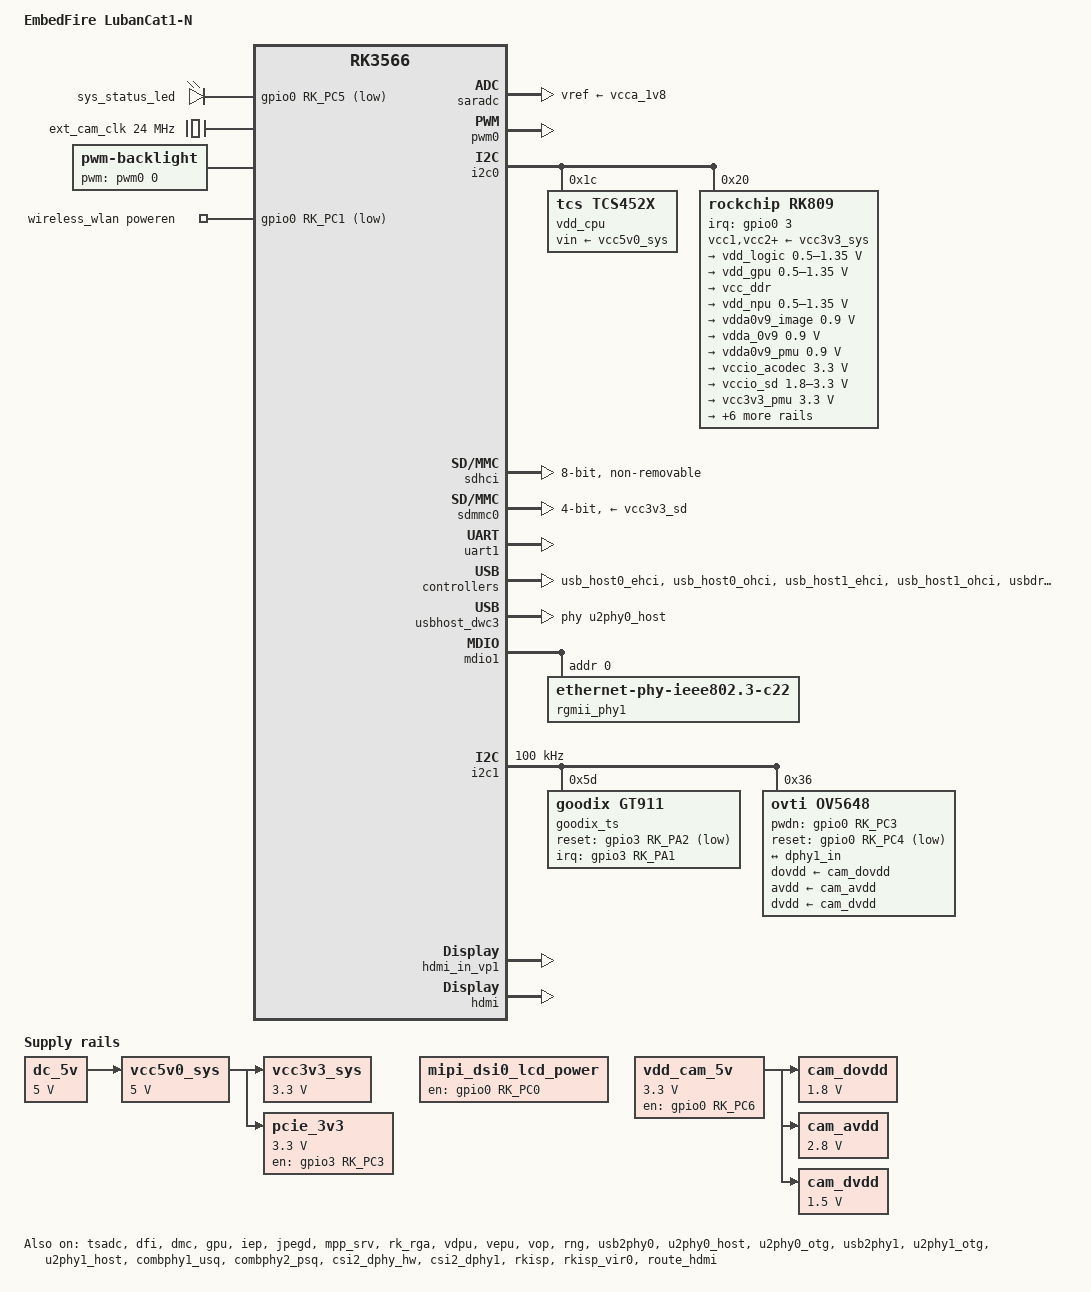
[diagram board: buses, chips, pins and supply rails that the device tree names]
// SPDX-License-Identifier: (GPL-2.0+ OR MIT)
/*
 * Copyright (c) 2020 Rockchip Electronics Co., Ltd.
 *
 */

 /dts-v1/;

#include <dt-bindings/gpio/gpio.h>
#include <dt-bindings/pwm/pwm.h>
#include <dt-bindings/pinctrl/rockchip.h>
#include <dt-bindings/input/rk-input.h>
#include <dt-bindings/display/drm_mipi_dsi.h>
#include <dt-bindings/sensor-dev.h>
#include "rk3566.dtsi"

/ {
    model = "EmbedFire LubanCat1-N";
    compatible = "embedfire,lubancat1-n", "rockchip,rk3566";

    chosen: chosen {
            bootargs = "earlycon=uart8250,mmio32,0xfe660000 console=ttyFIQ0 root=PARTUUID=614e0000-0000 rw rootwait";
    };

    fiq-debugger {
        compatible = "rockchip,fiq-debugger";
        rockchip,serial-id = <2>;
        rockchip,wake-irq = <0>;
        /* If enable uart uses irq instead of fiq */
        rockchip,irq-mode-enable = <1>;
        rockchip,baudrate = <1500000>;  /* Only 115200 and 1500000 */
        interrupts = <GIC_SPI 252 IRQ_TYPE_LEVEL_LOW>;
        pinctrl-names = "default";
        pinctrl-0 = <&uart2m0_xfer>;
        status = "okay";
    };

    debug: debug@fd904000 {
        compatible = "rockchip,debug";
        reg = <0x0 0xfd904000 0x0 0x1000>,
            <0x0 0xfd905000 0x0 0x1000>,
            <0x0 0xfd906000 0x0 0x1000>,
            <0x0 0xfd907000 0x0 0x1000>;
    };

    cspmu: cspmu@fd90c000 {
        compatible = "rockchip,cspmu";
        reg = <0x0 0xfd90c000 0x0 0x1000>,
            <0x0 0xfd90d000 0x0 0x1000>,
            <0x0 0xfd90e000 0x0 0x1000>,
            <0x0 0xfd90f000 0x0 0x1000>;
    };

    reserved-memory {
        #address-cells = <2>;
        #size-cells = <2>;
        ranges;
        ramoops: ramoops@110000 {
            compatible = "ramoops";
            reg = <0x0 0x110000 0x0 0xf0000>;
            record-size = <0x20000>;
            console-size = <0x80000>;
            ftrace-size = <0x00000>;
            pmsg-size = <0x50000>;
        };

        // abc: abc@80900000{
        //     reg = <0x0 0x80900000 0x0 0x100000>;
        // };
    };

    dc_5v: dc-5v {
        compatible = "regulator-fixed";
        regulator-name = "dc_5v";
        regulator-always-on;
        regulator-boot-on;
        regulator-min-microvolt = <5000000>;
        regulator-max-microvolt = <5000000>;
    };

    vcc5v0_sys: vcc5v0-sys {
        compatible = "regulator-fixed";
        regulator-name = "vcc5v0_sys";
        regulator-always-on;
        regulator-boot-on;
        regulator-min-microvolt = <5000000>;
        regulator-max-microvolt = <5000000>;
        vin-supply = <&dc_5v>;
    };

    vcc3v3_sys: vcc3v3-sys {
        compatible = "regulator-fixed";
        regulator-name = "vcc3v3_sys";
        regulator-always-on;
        regulator-boot-on;
        regulator-min-microvolt = <3300000>;
        regulator-max-microvolt = <3300000>;
        vin-supply = <&vcc5v0_sys>;
    };

    pcie_3v3: pcie2-3v3-regulator {
        compatible = "regulator-fixed";
        regulator-name = "pcie_3v3";
        regulator-min-microvolt = <3300000>;
        regulator-max-microvolt = <3300000>;
        enable-active-high;
        gpio = <&gpio3 RK_PC3 GPIO_ACTIVE_HIGH>;
        startup-delay-us = <5000>;
        vin-supply = <&vcc5v0_sys>;
    };

    mipi_dsi0_lcd_power: mipi-dsi0-lcd-power-regulator {
        compatible = "regulator-fixed";
        enable-active-high;
        gpio = <&gpio0 RK_PC0 GPIO_ACTIVE_HIGH>;
        pinctrl-names = "default";
        pinctrl-0 = <&mipi_dsi0_lcd_pwr_en>;
        regulator-name = "mipi_dsi0_lcd_power";
        regulator-always-on;
    };

    vdd_cam_5v: vdd-cam-5v-regulator {
        compatible = "regulator-fixed";
        regulator-name = "vdd_cam_5v";
        regulator-min-microvolt = <3300000>;
        regulator-max-microvolt = <3300000>;
        gpio = <&gpio0 RK_PC6 GPIO_ACTIVE_HIGH>;
        pinctrl-names = "default";
        pinctrl-0 = <&cam_pwr_en>;
        enable-active-high;
        regulator-always-on;
    };

    cam_dovdd: cam-dovdd {
        compatible = "regulator-fixed";
        regulator-name = "cam0_dovdd";
        regulator-always-on;
        regulator-boot-on;
        regulator-min-microvolt = <1800000>;
        regulator-max-microvolt = <1800000>;
        vin-supply = <&vdd_cam_5v>;
    };

    cam_avdd: cam-avdd {
        compatible = "regulator-fixed";
        regulator-name = "cam0_avdd";
        regulator-always-on;
        regulator-boot-on;
        regulator-min-microvolt = <2800000>;
        regulator-max-microvolt = <2800000>;
        vin-supply = <&vdd_cam_5v>;
    };

    cam_dvdd: cam-dvdd {
        compatible = "regulator-fixed";
        regulator-name = "cam0_dvdd";
        regulator-always-on;
        regulator-boot-on;
        regulator-min-microvolt = <1500000>;
        regulator-max-microvolt = <1500000>;
        vin-supply = <&vdd_cam_5v>;
    };

    leds: leds {
        status = "okay";
        compatible = "gpio-leds";

        sys_status_led: sys-status-led {
            label = "sys_status_led";
            linux,default-trigger = "heartbeat";
            default-state = "on";
            gpios = <&gpio0 RK_PC5 GPIO_ACTIVE_LOW>;
            pinctrl-names = "default";
            pinctrl-0 = <&sys_status_led_pin>;
        };
    };

    ext_cam_clk: external-camera-clock {
        compatible = "fixed-clock";
        #clock-cells = <0>;
        clock-frequency = <24000000>;
        clock-output-names = "CLK_CAMERA1_24MHZ";
    };

    backlight: backlight {
        status = "okay";
        compatible = "pwm-backlight";
        pwms = <&pwm0 0 50000 0>;
        brightness-levels = <
             95  95  95  95  95  95  95  95
             95  95  95  95  95  95  95  95
             95  95  95  95  95  95  95  95
             95  95  95  95  95  95  95  95
             95  95  95  95  95  95  95  95
             95  95  95  95  95  95  95  95
             95  95  95  95  95  95  95  95
             95  95  95  95  95  95  95  95
             95  95  95  95  95  95  95  95
             95  95  95  95  95  95  95  95
             95  95  95  95  95  95  95  95
             88  89  90  91  92  93  94  95
             96  97  98  99 100 101 102 103
            104 105 106 107 108 109 110 111
            112 113 114 115 116 117 118 119
            120 121 122 123 124 125 126 127
            128 129 130 131 132 133 134 135
            136 137 138 139 140 141 142 143
            144 145 146 147 148 149 150 151
            152 153 154 155 156 157 158 159
            160 161 162 163 164 165 166 167
            168 169 170 171 172 173 174 175
            176 177 178 179 180 181 182 183
            184 185 186 187 188 189 190 191
            192 193 194 195 196 197 198 199
            200 201 202 203 204 205 206 207
            208 209 210 211 212 213 214 215
            216 217 218 219 220 221 222 223
            224 225 226 227 228 229 230 231
            232 233 234 235 236 237 238 239
            240 241 242 243 244 245 246 247
            248 249 250 251 252 253 254 255
        >;
        default-brightness-level = <200>;
    };

    wireless_wlan: wireless-wlan {
        compatible = "wlan-platdata";
        rockchip,grf = <&grf>;
        wifi_chip_type = "rtl8821cu";
        pinctrl-names = "default";
        pinctrl-0 = <&wifi_poweren_gpio>;
        WIFI,poweren_gpio = <&gpio0 RK_PC1 GPIO_ACTIVE_LOW>;
        status = "okay";
    };
};

&saradc {
    vref-supply = <&vcca_1v8>;
    status = "okay";
};

&tsadc {
    status = "okay";
};

&pwm0 {
    status = "okay";
    pinctrl-0 = <&pwm0m1_pins>;
};

&cpu0 {
    cpu-supply = <&vdd_cpu>;
};

&dfi {
    status = "okay";
};

&dmc {
    system-status-freq = <
        /*system status         freq(KHz)*/
        SYS_STATUS_NORMAL       780000
        SYS_STATUS_REBOOT       1056000
        SYS_STATUS_SUSPEND      324000
        SYS_STATUS_VIDEO_1080P  528000
        SYS_STATUS_BOOST        1056000
        SYS_STATUS_ISP          1056000
        SYS_STATUS_PERFORMANCE  1056000
    >;
    center-supply = <&vdd_logic>;
    status = "okay";
};

&dmc_opp_table {
    opp-324000000 {
        opp-hz = /bits/ 64 <324000000>;
        opp-microvolt = <875000>;
        opp-microvolt-L0 = <875000>;
        opp-microvolt-L1 = <850000>;
    };

    opp-528000000 {
        opp-hz = /bits/ 64 <528000000>;
        opp-microvolt = <875000>;
        opp-microvolt-L0 = <875000>;
        opp-microvolt-L1 = <850000>;
    };

    opp-528000000 {
        opp-hz = /bits/ 64 <780000000>;
        opp-microvolt = <875000>;
        opp-microvolt-L0 = <875000>;
        opp-microvolt-L1 = <850000>;
    };

    opp-1056000000 {
        opp-hz = /bits/ 64 <1056000000>;
        opp-microvolt = <900000>;
        opp-microvolt-L0 = <900000>;
        opp-microvolt-L1 = <850000>;
    };
};

&gpu {
    mali-supply = <&vdd_gpu>;
    status = "okay";
};

&i2c0 {
    status = "okay";

    vdd_cpu: tcs4525@1c {
        compatible = "tcs,tcs452x";
        reg = <0x1c>;
        vin-supply = <&vcc5v0_sys>;
        regulator-compatible = "fan53555-reg";
        regulator-name = "vdd_cpu";
        regulator-min-microvolt = <712500>;
        regulator-max-microvolt = <1390000>;
        regulator-ramp-delay = <2300>;
        fcs,suspend-voltage-selector = <1>;
        regulator-boot-on;
        regulator-always-on;
        regulator-state-mem {
            regulator-off-in-suspend;
        };
    };
/*
    vdd_cpu: syr827@40 {
        compatible = "silergy,syr827";
        reg = <0x40>;
        fcs,suspend-voltage-selector = <1>;
        regulator-name = "vdd_cpu";
        regulator-min-microvolt = <712500>;
        regulator-max-microvolt = <1390000>;
        regulator-ramp-delay = <2300>;
        regulator-always-on;
        regulator-boot-on;
        vin-supply = <&vcc5v0_sys>;

        regulator-state-mem {
            regulator-off-in-suspend;
        };
    };
*/
    rk809: pmic@20 {
        compatible = "rockchip,rk809";
        reg = <0x20>;
        interrupt-parent = <&gpio0>;
        interrupts = <3 IRQ_TYPE_LEVEL_LOW>;

        pinctrl-names = "default", "pmic-sleep",
                        "pmic-power-off", "pmic-reset";
        pinctrl-0 = <&pmic_int>;
        pinctrl-1 = <&soc_slppin_slp>, <&rk817_slppin_slp>;
        pinctrl-2 = <&soc_slppin_gpio>, <&rk817_slppin_pwrdn>;
        pinctrl-3 = <&soc_slppin_gpio>, <&rk817_slppin_rst>;

        rockchip,system-power-controller;
        wakeup-source;
        #clock-cells = <1>;
        clock-output-names = "rk808-clkout1", "rk808-clkout2";
        //fb-inner-reg-idxs = <2>;
        /* 1: rst regs (default in codes), 0: rst the pmic */
        pmic-reset-func = <0>;
        /* not save the PMIC_POWER_EN register in uboot */
        not-save-power-en = <1>;

        vcc1-supply = <&vcc3v3_sys>;
        vcc2-supply = <&vcc3v3_sys>;
        vcc3-supply = <&vcc3v3_sys>;
        vcc4-supply = <&vcc3v3_sys>;
        vcc5-supply = <&vcc3v3_sys>;
        vcc6-supply = <&vcc3v3_sys>;
        vcc7-supply = <&vcc3v3_sys>;
        vcc8-supply = <&vcc3v3_sys>;
        vcc9-supply = <&vcc3v3_sys>;

        pwrkey {
            status = "okay";
        };

        pinctrl_rk8xx: pinctrl_rk8xx {
            gpio-controller;
            #gpio-cells = <2>;

            rk817_slppin_null: rk817_slppin_null {
                pins = "gpio_slp";
                function = "pin_fun0";
            };

            rk817_slppin_slp: rk817_slppin_slp {
                pins = "gpio_slp";
                function = "pin_fun1";
            };

            rk817_slppin_pwrdn: rk817_slppin_pwrdn {
                pins = "gpio_slp";
                function = "pin_fun2";
            };

            rk817_slppin_rst: rk817_slppin_rst {
                pins = "gpio_slp";
                function = "pin_fun3";
            };
        };

        regulators {
            vdd_logic: DCDC_REG1 {
                regulator-always-on;
                regulator-boot-on;
                regulator-min-microvolt = <500000>;
                regulator-max-microvolt = <1350000>;
                regulator-init-microvolt = <900000>;
                regulator-ramp-delay = <6001>;
                regulator-initial-mode = <0x2>;
                regulator-name = "vdd_logic";
                regulator-state-mem {
                    regulator-off-in-suspend;
                };
            };

            vdd_gpu: DCDC_REG2 {
                regulator-always-on;
                regulator-boot-on;
                regulator-min-microvolt = <500000>;
                regulator-max-microvolt = <1350000>;
                regulator-init-microvolt = <900000>;
                regulator-ramp-delay = <6001>;
                regulator-initial-mode = <0x2>;
                regulator-name = "vdd_gpu";
                regulator-state-mem {
                    regulator-off-in-suspend;
                };
            };

            vcc_ddr: DCDC_REG3 {
                regulator-always-on;
                regulator-boot-on;
                regulator-initial-mode = <0x2>;
                regulator-name = "vcc_ddr";
                regulator-state-mem {
                    regulator-on-in-suspend;
                };
            };

            vdd_npu: DCDC_REG4 {
                regulator-always-on;
                regulator-boot-on;
                regulator-min-microvolt = <500000>;
                regulator-max-microvolt = <1350000>;
                regulator-init-microvolt = <900000>;
                regulator-ramp-delay = <6001>;
                regulator-initial-mode = <0x2>;
                regulator-name = "vdd_npu";
                regulator-state-mem {
                    regulator-off-in-suspend;
                };
            };

            vdda0v9_image: LDO_REG1 {
                regulator-boot-on;
                regulator-always-on;
                regulator-min-microvolt = <900000>;
                regulator-max-microvolt = <900000>;
                regulator-name = "vdda0v9_image";
                regulator-state-mem {
                    regulator-off-in-suspend;
                };
            };

            vdda_0v9: LDO_REG2 {
                regulator-always-on;
                regulator-boot-on;
                regulator-min-microvolt = <900000>;
                regulator-max-microvolt = <900000>;
                regulator-name = "vdda_0v9";
                regulator-state-mem {
                    regulator-off-in-suspend;
                };
            };

            vdda0v9_pmu: LDO_REG3 {
                regulator-always-on;
                regulator-boot-on;
                regulator-min-microvolt = <900000>;
                regulator-max-microvolt = <900000>;
                regulator-name = "vdda0v9_pmu";
                regulator-state-mem {
                    regulator-on-in-suspend;
                    regulator-suspend-microvolt = <900000>;
                };
            };

            vccio_acodec: LDO_REG4 {
                regulator-always-on;
                regulator-boot-on;
                regulator-min-microvolt = <3300000>;
                regulator-max-microvolt = <3300000>;
                regulator-name = "vccio_acodec";
                regulator-state-mem {
                    regulator-off-in-suspend;
                };
            };

            vccio_sd: LDO_REG5 {
                regulator-always-on;
                regulator-boot-on;
                regulator-min-microvolt = <1800000>;
                regulator-max-microvolt = <3300000>;
                regulator-name = "vccio_sd";
                regulator-state-mem {
                    regulator-off-in-suspend;
                };
            };

            vcc3v3_pmu: LDO_REG6 {
                regulator-always-on;
                regulator-boot-on;
                regulator-min-microvolt = <3300000>;
                regulator-max-microvolt = <3300000>;
                regulator-name = "vcc3v3_pmu";
                regulator-state-mem {
                    regulator-on-in-suspend;
                    regulator-suspend-microvolt = <3300000>;
                };
            };

            vcca_1v8: LDO_REG7 {
                regulator-always-on;
                regulator-boot-on;
                regulator-min-microvolt = <1800000>;
                regulator-max-microvolt = <1800000>;
                regulator-name = "vcca_1v8";
                regulator-state-mem {
                    regulator-off-in-suspend;
                };
            };

            vcca1v8_pmu: LDO_REG8 {
                regulator-always-on;
                regulator-boot-on;
                regulator-min-microvolt = <1800000>;
                regulator-max-microvolt = <1800000>;
                regulator-name = "vcca1v8_pmu";
                regulator-state-mem {
                    regulator-on-in-suspend;
                    regulator-suspend-microvolt = <1800000>;
                };
            };

            vcca1v8_image: LDO_REG9 {
                regulator-always-on;
                regulator-boot-on;
                regulator-min-microvolt = <1800000>;
                regulator-max-microvolt = <1800000>;
                regulator-name = "vcca1v8_image";
                regulator-state-mem {
                    regulator-off-in-suspend;
                };
            };

            vcc_1v8: DCDC_REG5 {
                regulator-always-on;
                regulator-boot-on;
                regulator-min-microvolt = <1800000>;
                regulator-max-microvolt = <1800000>;
                regulator-name = "vcc_1v8";
                regulator-state-mem {
                    regulator-off-in-suspend;
                };
            };

            vcc_3v3: SWITCH_REG1 {
                regulator-always-on;
                regulator-boot-on;
                regulator-name = "vcc_3v3";
                regulator-state-mem {
                    regulator-off-in-suspend;
                };
            };

            vcc3v3_sd: SWITCH_REG2 {
                regulator-always-on;
                regulator-boot-on;
                regulator-name = "vcc3v3_sd";
                regulator-state-mem {
                    regulator-off-in-suspend;
                };
            };
        };
    };
};

&iep {
    status = "okay";
};

&iep_mmu {
    status = "okay";
};

&jpegd {
    status = "okay";
};

&jpegd_mmu {
    status = "okay";
};

&mpp_srv {
    status = "okay";
};

&pmu_io_domains {
    status = "okay";
    pmuio1-supply = <&vcc3v3_pmu>;
    pmuio2-supply = <&vcc3v3_pmu>;
    vccio1-supply = <&vccio_acodec>;
    vccio3-supply = <&vccio_sd>;
    vccio4-supply = <&vcc_3v3>;
    vccio5-supply = <&vcc_3v3>;
    vccio6-supply = <&vcc_3v3>;
    vccio7-supply = <&vcc_3v3>;
};

&rk_rga {
    status = "okay";
};

&rkvdec {
    status = "disabled";
};

&rkvdec_mmu {
    status = "disabled";
};

&rkvenc {
    venc-supply = <&vdd_logic>;
    status = "disabled";
};

&rkvenc_mmu {
    status = "disabled";
};

&rknpu {
    rknpu-supply = <&vdd_npu>;
    status = "disabled";
};

&rknpu_mmu {
    status = "disabled";
};

&bus_npu {
    bus-supply = <&vdd_logic>;
    pvtm-supply = <&vdd_cpu>;
    status = "disabled";
};

&sdhci {
    bus-width = <8>;
    supports-emmc;
    non-removable;
    max-frequency = <200000000>;
    status = "okay";
};

&sdmmc0 {
    max-frequency = <150000000>;
    supports-sd;
    bus-width = <4>;
    cap-mmc-highspeed;
    cap-sd-highspeed;
    disable-wp;
    sd-uhs-sdr104;
    vmmc-supply = <&vcc3v3_sd>;
    vqmmc-supply = <&vccio_sd>;
    pinctrl-names = "default";
    pinctrl-0 = <&sdmmc0_bus4 &sdmmc0_clk &sdmmc0_cmd &sdmmc0_det>;
    status = "okay";
};

&uart1 {
    status = "okay";
    pinctrl-names = "default";
    pinctrl-0 = <&uart1m0_xfer &uart1m0_ctsn>;
};

&vdpu {
    status = "okay";
};

&vdpu_mmu {
    status = "okay";
};

&vepu {
    status = "okay";
};

&vepu_mmu {
    status = "okay";
};

&vop {
    status = "okay";
    assigned-clocks = <&cru DCLK_VOP0>, <&cru DCLK_VOP1>;
    assigned-clock-parents = <&pmucru PLL_HPLL>, <&cru PLL_VPLL>;
};

&vop_mmu {
    status = "okay";
};

&rng {
    status = "okay";
};

&rockchip_suspend {
    status = "okay";
};

&vop {
    disable-win-move;
};

/* USB OTG/USB Host_1 USB 2.0 Comb */
&usb2phy0 {
	status = "okay";
};

&u2phy0_host {
    status = "okay";
};

&u2phy0_otg {
    status = "okay";
};

&usb_host0_ehci {
    status = "okay";
};

&usb_host0_ohci {
    status = "okay";
};

/* USB Host_2/USB Host_3 USB 2.0 Comb */
&usb2phy1 {
	status = "okay";
};

&u2phy1_otg {
    status = "okay";
};

&u2phy1_host {
    status = "okay";
};

&usb_host1_ehci {
    status = "okay";
};

&usb_host1_ohci {
    status = "okay";
};

/* USB3.0 OTG Only USB2.0 */
&usbdrd30 {
    status = "okay";
};

&usbdrd_dwc3 {
    status = "okay";
};

/* USB3.0 Host to USB2.0 only */
&combphy1_usq {
    rockchip,dis-u3otg1-port; /* 配置 dwc3_1 控制器最高支持 high speed */
    status = "okay";
};

&usbhost30 {
    status = "okay";
};

&usbhost_dwc3 {
    phys = <&u2phy0_host>; /* 配置 phys 属性只引用 usb 2.0 phy 节点 */
    phy-names = "usb2-phy";
    maximum-speed = "high-speed"; /* 配置 dwc3 控制器最高支持 high speed */
    status = "okay";
};

&gmac1 {
    phy-mode = "rgmii";
    clock_in_out = "input";

    snps,reset-gpio = <&gpio4 RK_PC0 GPIO_ACTIVE_LOW>;
    snps,reset-active-low;
    /* Reset time is 100ms, 100ms */
    snps,reset-delays-us = <0 100000 100000>;

    assigned-clocks = <&cru SCLK_GMAC1_RX_TX>, <&cru SCLK_GMAC1>;
    assigned-clock-parents = <&cru SCLK_GMAC1_RGMII_SPEED>, <&gmac1_clkin>;
    assigned-clock-rates = <0>, <125000000>;

    pinctrl-names = "default";
    pinctrl-0 = <&gmac1m1_miim
                    &gmac1m1_tx_bus2
                    &gmac1m1_rx_bus2
                    &gmac1m1_rgmii_clk
                    &gmac1m1_rgmii_bus
                    &gmac1m1_clkinout>;

    tx_delay = <0x16>;
    rx_delay = <0x0a>;

    phy-handle = <&rgmii_phy1>;
    status = "disabled";
};

&mdio1 {
    rgmii_phy1: phy@0 {
        compatible = "ethernet-phy-ieee802.3-c22";
        reg = <0x0>;
    };
};

&combphy2_psq {
        status = "okay";
};

&i2c1 {
    status = "okay";
    clock-frequency = <100000>;
    goodix_ts@5d {
        status = "okay";
        compatible = "goodix,gt911";
        reg = <0x5d>;
        interrupt-parent = <&gpio3>;
        interrupts = <RK_PA1 IRQ_TYPE_LEVEL_LOW>;
        reset-gpios = <&gpio3 RK_PA2 GPIO_ACTIVE_LOW>;
        irq-gpios = <&gpio3 RK_PA1 GPIO_ACTIVE_HIGH>;
    };

    ov5648: camera@36 {
        compatible = "ovti,ov5648";
        reg = <0x36>;
        clocks = <&ext_cam_clk>;
        clock-names = "xvclk";
        dovdd-supply= <&cam_dovdd>; /* 1.8v */
        avdd-supply = <&cam_avdd>;  /* 2.8v */
        dvdd-supply = <&cam_dvdd>;  /* 1.5v */
        pwdn-gpios = <&gpio0 RK_PC3 GPIO_ACTIVE_HIGH>;
        reset-gpios = <&gpio0 RK_PC4 GPIO_ACTIVE_LOW>;
        rotation = <180>;
        status = "okay";

        rockchip,camera-module-index = <0>;
        rockchip,camera-module-facing = "back";
        rockchip,camera-module-name = "THDS11073";
        rockchip,camera-module-lens-name = "Largan-40122a1";

        port {
                /* MIPI CSI-2 bus endpoint */
            cam0_ov5648_out: endpoint {
                remote-endpoint = <&dphy1_in>;
                clock-lanes = <0>;
                data-lanes = <1 2>;
            };
        };
    };
};

&csi2_dphy_hw {
    status = "okay";
};

&csi2_dphy1 {
    status = "okay";
    /*
    * dphy1 only used for split mode,
    * can be used concurrently with dphy2
    * full mode and split mode are mutually exclusive
    */
    ports {
        #address-cells = <1>;
        #size-cells = <0>;

        port@0 {
            reg = <0>;
            #address-cells = <1>;
            #size-cells = <0>;

            dphy1_in: endpoint@1 {
                reg = <1>;
                remote-endpoint = <&cam0_ov5648_out>;
                data-lanes = <1 2>;
            };
        };

        port@1 {
            reg = <1>;
            #address-cells = <1>;
            #size-cells = <0>;

            dphy1_out: endpoint@1 {
                reg = <1>;
                remote-endpoint = <&isp0_in>;
            };
        };
    };
};

&rkisp {
    status = "okay";
};

&rkisp_mmu {
    status = "okay";
};

&rkisp_vir0 {
    status = "okay";
    ports {
        #address-cells = <1>;
        #size-cells = <0>;

        port@0 {
            reg = <0>;
            #address-cells = <1>;
            #size-cells = <0>;

            isp0_in: endpoint@0 {
                reg = <0>;
                remote-endpoint = <&dphy1_out>;
            };
        };
    };
};

&route_hdmi {
    status = "okay";
    connect = <&vp0_out_hdmi>;
};

&hdmi_in_vp1 {
    status = "okay";
};

&hdmi_in_vp0 {
    status = "disabled";
};

&hdmi {
    status = "okay";
};


// &route_dsi0 {
// 	status = "okay";
// 	connect = <&vp0_out_dsi0>;
// };

// &video_phy0 {
// 	status = "okay";
// };

// &dsi0_in_vp0 {
//     status = "okay";
// };

// &dsi0_in_vp1 {
//     status = "disabled";
// };

// &dsi0 {
//     status = "okay";
//     dsi0_panel: panel@0 {
//         status = "okay";
//         compatible = "simple-panel-dsi";
//         reg = <0>;
//         backlight = <&backlight>;
//         reset-gpios = <&gpio3 RK_PA4 GPIO_ACTIVE_LOW>;

//         enable-delay-ms = <35>;
//         prepare-delay-ms = <6>;
//         reset-delay-ms = <0>;
//         init-delay-ms = <20>;
//         unprepare-delay-ms = <0>;
//         disable-delay-ms = <20>;

//         size,width = <68>;
//         size,height = <121>;

//         dsi,flags = <(MIPI_DSI_MODE_VIDEO | MIPI_DSI_MODE_VIDEO_BURST | MIPI_DSI_MODE_LPM | MIPI_DSI_MODE_EOT_PACKET)>;
//         dsi,format = <MIPI_DSI_FMT_RGB888>;
//         dsi,lanes  = <4>;

//         panel-init-sequence = [
//             15 00 04 FF 98 81 03
//             15 00 02 01 00
//             15 00 02 02 00
//             15 00 02 03 72
//             15 00 02 04 00
//             15 00 02 05 00
//             15 00 02 06 09
//             15 00 02 07 00
//             15 00 02 08 00
//             15 00 02 09 01
//             15 00 02 0A 00
//             15 00 02 0B 00
//             15 00 02 0C 01
//             15 00 02 0D 00
//             15 00 02 0E 00
//             15 00 02 0F 00
//             15 00 02 10 00
//             15 00 02 11 00
//             15 00 02 12 00
//             15 00 02 13 00
//             15 00 02 14 00
//             15 00 02 15 00
//             15 00 02 16 00
//             15 00 02 17 00
//             15 00 02 18 00
//             15 00 02 19 00
//             15 00 02 1A 00
//             15 00 02 1B 00
//             15 00 02 1C 00
//             15 00 02 1D 00
//             15 00 02 1E 40
//             15 00 02 1F 80
//             15 00 02 20 05
//             15 00 02 21 02
//             15 00 02 22 00
//             15 00 02 23 00
//             15 00 02 24 00
//             15 00 02 25 00
//             15 00 02 26 00
//             15 00 02 27 00
//             15 00 02 28 33
//             15 00 02 29 02
//             15 00 02 2A 00
//             15 00 02 2B 00
//             15 00 02 2C 00
//             15 00 02 2D 00
//             15 00 02 2E 00
//             15 00 02 2F 00
//             15 00 02 30 00
//             15 00 02 31 00
//             15 00 02 32 00
//             15 00 02 33 00
//             15 00 02 34 00
//             15 00 02 35 00
//             15 00 02 36 00
//             15 00 02 37 00
//             15 00 02 38 3C
//             15 00 02 39 00
//             15 00 02 3A 40
//             15 00 02 3B 40
//             15 00 02 3C 00
//             15 00 02 3D 00
//             15 00 02 3E 00
//             15 00 02 3F 00
//             15 00 02 40 00
//             15 00 02 41 00
//             15 00 02 42 00
//             15 00 02 43 00
//             15 00 02 44 00
//             15 00 02 50 00
//             15 00 02 51 23
//             15 00 02 52 45
//             15 00 02 53 67
//             15 00 02 54 89
//             15 00 02 55 AB
//             15 00 02 56 01
//             15 00 02 57 23
//             15 00 02 58 45
//             15 00 02 59 67
//             15 00 02 5A 89
//             15 00 02 5B AB
//             15 00 02 5C CD
//             15 00 02 5D EF
//             15 00 02 5E 11
//             15 00 02 5F 01
//             15 00 02 60 00
//             15 00 02 61 15
//             15 00 02 62 14
//             15 00 02 63 0E
//             15 00 02 64 0F
//             15 00 02 65 0C
//             15 00 02 66 0D
//             15 00 02 67 06
//             15 00 02 68 02
//             15 00 02 69 02
//             15 00 02 6A 02
//             15 00 02 6B 02
//             15 00 02 6C 02
//             15 00 02 6D 02
//             15 00 02 6E 07
//             15 00 02 6F 02
//             15 00 02 70 02
//             15 00 02 71 02
//             15 00 02 72 02
//             15 00 02 73 02
//             15 00 02 74 02
//             15 00 02 75 01
//             15 00 02 76 00
//             15 00 02 77 14
//             15 00 02 78 15
//             15 00 02 79 0E
//             15 00 02 7A 0F
//             15 00 02 7B 0C
//             15 00 02 7C 0D
//             15 00 02 7D 06
//             15 00 02 7E 02
//             15 00 02 7F 07
//             15 00 02 80 02
//             15 00 02 81 02
//             15 00 02 82 02
//             15 00 02 83 02
//             15 00 02 84 07
//             15 00 02 85 02
//             15 00 02 86 02
//             15 00 02 87 02
//             15 00 02 88 02
//             15 00 02 89 02
//             15 00 02 8A 02

//             15 00 04 FF 98 81 04
//             15 00 02 6C 15
//             15 00 02 6E 2A
//             15 00 02 6F 33
//             15 00 02 3A 94
//             15 00 02 8D 1A
//             15 00 02 87 BA
//             15 00 02 26 76
//             15 00 02 B2 D1
//             15 00 02 B5 06

//             15 00 04 FF 98 81 01
//             15 00 02 22 0A
//             15 00 02 31 00
//             15 00 02 53 8A
//             15 00 02 55 8A
//             15 00 02 50 AE
//             15 00 02 51 AE
//             15 00 02 60 28
//             15 00 02 61 00
//             15 00 02 62 19
//             15 00 02 63 10
//             15 00 02 A0 0F
//             15 00 02 A1 1B
//             15 00 02 A2 28
//             15 00 02 A3 12
//             15 00 02 A4 15
//             15 00 02 A5 28
//             15 00 02 A6 1B
//             15 00 02 A7 1E
//             15 00 02 A8 79
//             15 00 02 A9 1B
//             15 00 02 AA 27
//             15 00 02 AB 69
//             15 00 02 AC 19
//             15 00 02 AD 18
//             15 00 02 AE 4C
//             15 00 02 AF 21
//             15 00 02 B0 28
//             15 00 02 B1 52
//             15 00 02 B2 65
//             15 00 02 B3 3F
//             15 00 02 C0 04
//             15 00 02 C1 1B
//             15 00 02 C0 27
//             15 00 02 C3 13
//             15 00 02 C4 15
//             15 00 02 C5 28
//             15 00 02 C6 1C
//             15 00 02 C7 1E
//             15 00 02 C8 79
//             15 00 02 C9 1A
//             15 00 02 CA 27
//             15 00 02 CB 69
//             15 00 02 CC 1A
//             15 00 02 CD 18
//             15 00 02 CE 4C
//             15 00 02 CF 21
//             15 00 02 D0 27
//             15 00 02 D1 52
//             15 00 02 D2 65
//             15 00 02 D3 3F

//             15 00 04 FF 98 81 00
//             15 00 02 35 00
//             15 00 02 3A 70
//             15 78 01 11
//             15 19 01 29
//         ];

//         panel-exit-sequence = [
//             05 78 01 11
//             05 00 01 29
//         ];

//         disp_timings0: display-timings {
//             native-mode = <&dsi0_timing0>;
//             dsi0_timing0: timing0 {
//                 clock-frequency = <59603040>;
//                 hactive = <720>;
//                 vactive = <1280>;
//                 hsync-len = <6>;
//                 hback-porch = <20>;
//                 hfront-porch = <10>;
//                 vsync-len = <4>;
//                 vback-porch = <20>;
//                 vfront-porch = <10>;
//                 hsync-active = <0>;
//                 vsync-active = <0>;
//                 de-active = <0>;
//                 pixelclk-active = <0>;
//             };
//         };

//         ports {
//             #address-cells = <1>;
//             #size-cells = <0>;
//             port@0 {
//                 reg = <0>;
//                 panel_in_dsi: endpoint {
//                     remote-endpoint = <&dsi_out_panel>;
//                 };
//             };
//         };
//     };

//     ports {
//         #address-cells = <1>;
//         #size-cells = <0>;

//         port@1 {
//             reg = <1>;
//             dsi_out_panel: endpoint {
//                 remote-endpoint = <&panel_in_dsi>;
//             };
//         };
//     };
// };

&pinctrl {
    pmic {
        pmic_int: pmic_int {
            rockchip,pins = <0 RK_PA3 RK_FUNC_GPIO &pcfg_pull_up>;
        };

        soc_slppin_gpio: soc_slppin_gpio {
            rockchip,pins = <0 RK_PA2 RK_FUNC_GPIO &pcfg_output_low_pull_down>;
        };

        soc_slppin_slp: soc_slppin_slp {
            rockchip,pins = <0 RK_PA2 RK_FUNC_1 &pcfg_pull_up>;
        };

        soc_slppin_rst: soc_slppin_rst {
            rockchip,pins = <0 RK_PA2 RK_FUNC_2 &pcfg_pull_none>;
        };

        spk_ctl_gpio: spk_ctl_gpio {
            rockchip,pins = <3 RK_PC5 RK_FUNC_GPIO &pcfg_pull_up>;
        };
    };

    wireless-wlan {
        wifi_poweren_gpio: wifi-poweren-gpio {
            rockchip,pins = <0 RK_PC1 RK_FUNC_GPIO &pcfg_output_low>;
        };
    };

    lcd {
        mipi_dsi0_lcd_pwr_en: mipi-dsi0-lcd-pwr-en {
            rockchip,pins = <0 RK_PC0 RK_FUNC_GPIO &pcfg_pull_none>;
        };
    };

    cam {
        cam_pwr_en: cam-pwr-en {
            rockchip,pins = <0 RK_PC6 RK_FUNC_GPIO &pcfg_pull_none>;
        };
    };

    leds {
        sys_status_led_pin: sys-status-led-pin {
            rockchip,pins = <0 RK_PC7 RK_FUNC_GPIO &pcfg_pull_none>;
        };
    };

    spi3 {
        spi3_cs0: spi3-cs0 {
            rockchip,pins = <4 RK_PC6 RK_FUNC_GPIO &pcfg_pull_up_drv_level_0>;
        };

        spi3_cs1: spi3-cs1 {
            rockchip,pins = <4 RK_PC4 RK_FUNC_GPIO &pcfg_pull_up_drv_level_0>;
        };
    };
};
